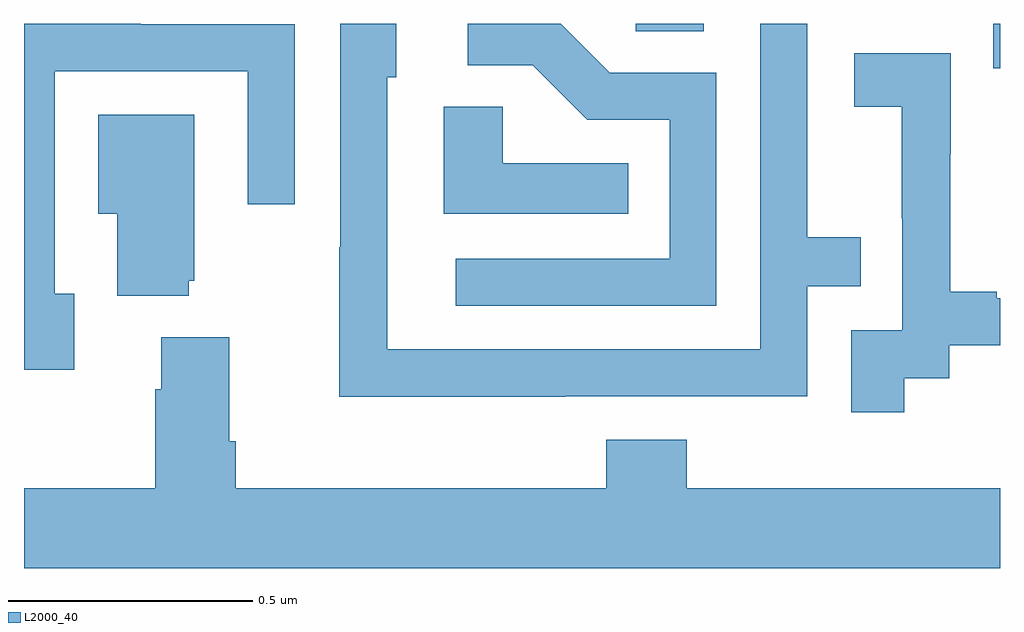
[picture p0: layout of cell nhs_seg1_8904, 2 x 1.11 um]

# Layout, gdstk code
import gdstk
lib = gdstk.Library(unit=1e-6, precision=1e-09)
def R(c, l, rs):  # rectangles x0, y0, x1, y1
    for r in rs: c.add(gdstk.rectangle(r[:2], r[2:], *l))
def P(c, l, *ps):  # polygons
    for p in ps: c.add(gdstk.Polygon(p, *l))
L2000_40 = (2000, 40)

nhs_seg1_8904 = lib.new_cell('nhs_seg1_8904')
R(nhs_seg1_8904, L2000_40, [(223.986,534.108,224,534.199), (223.254,534.184,223.393,534.199)])
P(nhs_seg1_8904, L2000_40, [(223.109,533.436),(223.605,533.436),(223.605,533.661),(223.715,533.661),(223.715,533.762),(223.605,533.762),(223.605,534.199),(223.509,534.199),(223.509,533.532),(222.744,533.532),(222.744,534.09),(222.763,534.09),(222.763,534.199),(222.648,534.199),(222.648,533.741),(222.646,533.741),(222.646,533.435),(223.109,533.435)],
  [(223.419,534.099),(223.2,534.099),(223.1,534.199),(222.909,534.199),(222.909,534.114),(223.043,534.114),(223.154,534.003),(223.323,534.003),(223.323,533.718),(222.885,533.718),(222.885,533.622),(223.419,533.622)],
  [(222.103,533.646),(222.063,533.646),(222.063,534.102),(222.459,534.102),(222.459,533.829),(222.555,533.829),(222.555,534.198),(222.239,534.198),(222.239,534.199),(222,534.199),(222,533.49),(222.103,533.49)],
  [(223.804,533.473),(223.896,533.473),(223.896,533.541),(224,533.541),(224,533.637),(223.993,533.637),(223.993,533.65),(223.898,533.65),(223.898,533.933),(223.899,533.933),(223.899,534.139),(223.701,534.139),(223.701,534.029),(223.799,534.029),(223.799,533.801),(223.8,533.801),(223.8,533.571),(223.695,533.571),(223.695,533.403),(223.804,533.403)],
  [(223.238,533.914),(222.981,533.914),(222.981,534.029),(222.86,534.029),(222.86,533.81),(223.238,533.81)],
  [(222.338,533.673),(222.349,533.673),(222.349,534.013),(222.152,534.013),(222.152,533.81),(222.191,533.81),(222.191,533.642),(222.338,533.642)],
  [(224,533.248),(223.358,533.248),(223.358,533.347),(223.193,533.347),(223.193,533.248),(222.434,533.248),(222.434,533.344),(222.421,533.344),(222.421,533.557),(222.281,533.557),(222.281,533.45),(222.269,533.45),(222.269,533.248),(222,533.248),(222,533.084),(224,533.084)])

lib.write_gds('nhs_seg1_8904.gds')
